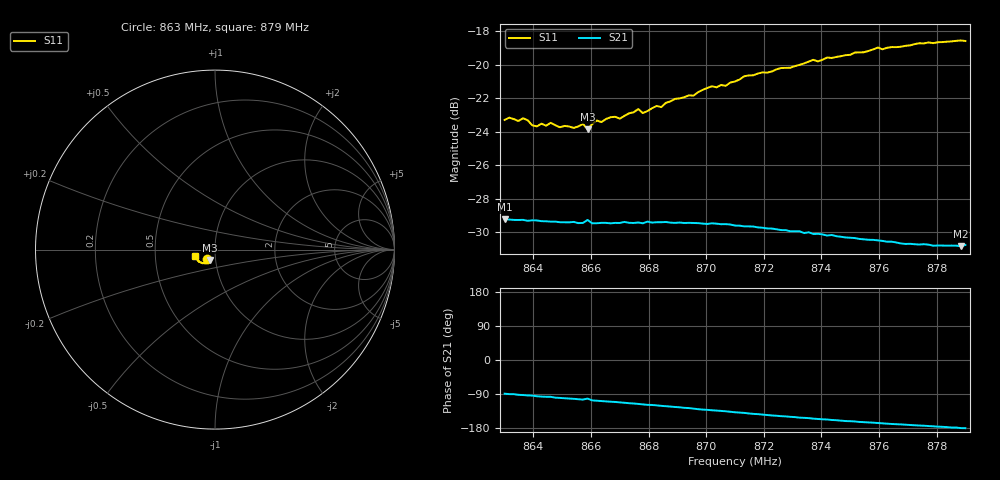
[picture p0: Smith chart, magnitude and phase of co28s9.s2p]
# HZ S RI R 50
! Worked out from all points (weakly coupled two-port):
!   101 points, 863 MHz to 879 MHz, reference 50 ohm
!   highest |S21| = -29.23 dB at 863 MHz (marker M1); lowest = -30.8 dB at 878.84 MHz (marker M2)
!   lowest |S11| = -23.8 dB at 865.88 MHz (marker M3), VSWR 1.14, Z = 46.9 - j5.4 ohm
!   |S11| at or under -10 dB: start of sweep to end of sweep
!   S12 and S22 are empty: the file has one direction only
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8.63e8  -0.0425 -0.0537  0.000672 -0.0345  0 0  0 0
8.6364e8  -0.0426 -0.0546  -0.00151 -0.0344  0 0  0 0
8.6412e8  -0.0384 -0.053  -0.0034 -0.0341  0 0  0 0
8.646e8  -0.0392 -0.0545  -0.00422 -0.0338  0 0  0 0
8.6492e8  -0.0365 -0.0539  -0.0059 -0.0334  0 0  0 0
8.654e8  -0.0345 -0.0548  -0.00734 -0.0331  0 0  0 0
8.6572e8  -0.034 -0.0573  -0.0084 -0.0326  0 0  0 0
8.6588e8  -0.0289 -0.0574  -0.00705 -0.0337  0 0  0 0
8.662e8  -0.0348 -0.0586  -0.0101 -0.0321  0 0  0 0
8.67e8  -0.0332 -0.0606  -0.0126 -0.0313  0 0  0 0
8.6764e8  -0.0358 -0.0645  -0.0148 -0.0304  0 0  0 0
8.678e8  -0.0344 -0.063  -0.0153 -0.0299  0 0  0 0
8.6828e8  -0.035 -0.0668  -0.0168 -0.0294  0 0  0 0
8.6844e8  -0.0346 -0.0663  -0.0174 -0.029  0 0  0 0
8.6892e8  -0.0375 -0.0697  -0.0188 -0.028  0 0  0 0
8.71e8  -0.0478 -0.0753  -0.0246 -0.0222  0 0  0 0
8.7132e8  -0.0516 -0.0767  -0.0251 -0.0213  0 0  0 0
8.7292e8  -0.0622 -0.0758  -0.0275 -0.016  0 0  0 0
8.7372e8  -0.0701 -0.0762  -0.0283 -0.0133  0 0  0 0
8.7644e8  -0.0951 -0.0611  -0.0291 -0.00573  0 0  0 0
8.7884e8  -0.1115 -0.0395  -0.0287 -0.000161  0 0  0 0
8.79e8  -0.1114 -0.0384  -0.029 -8e-06  0 0  0 0
